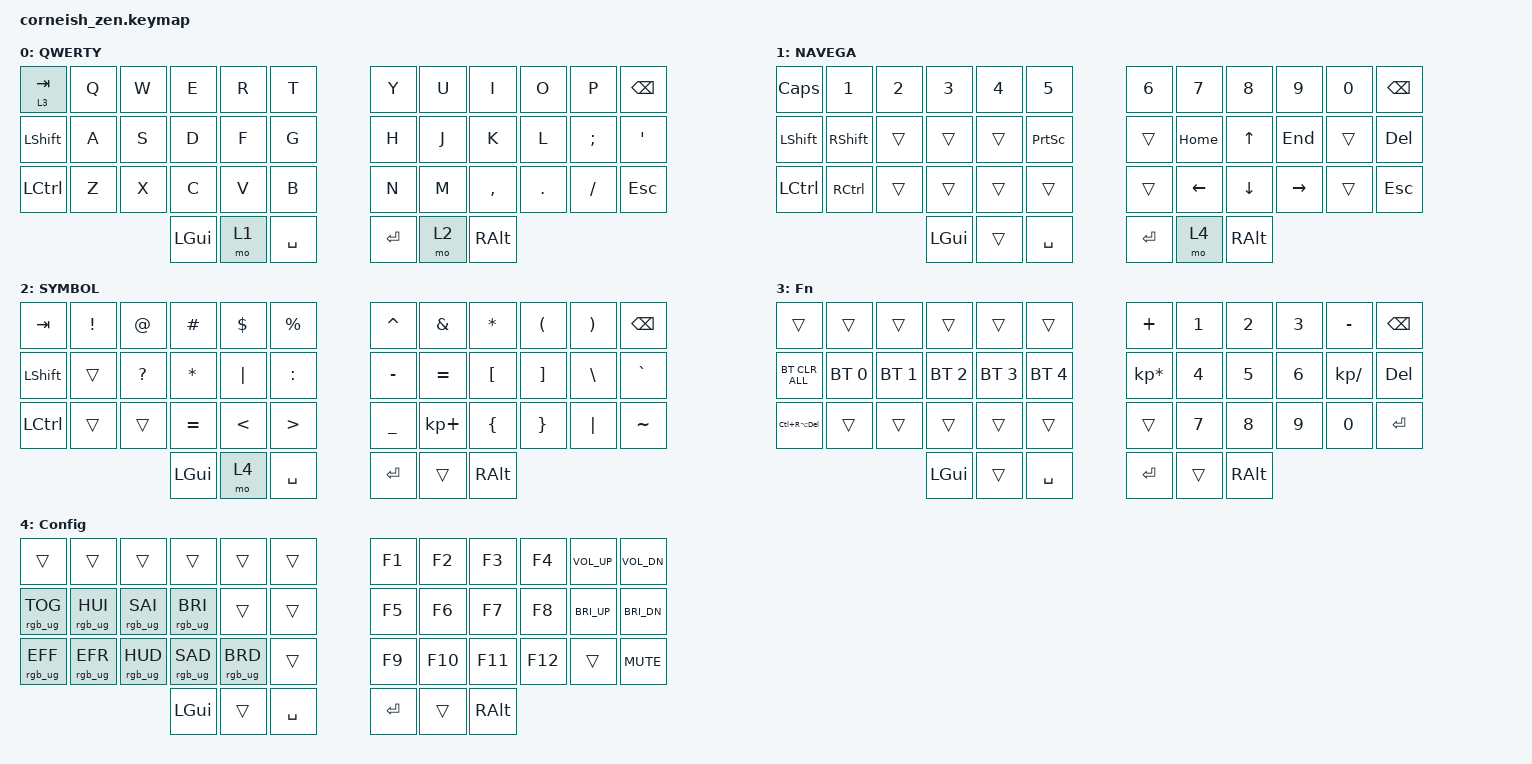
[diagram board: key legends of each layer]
/*
 * Copyright (c) 2020 The ZMK Contributors
 *
 * SPDX-License-Identifier: MIT
 */

#include <behaviors.dtsi>
#include <dt-bindings/zmk/bt.h>
#include <dt-bindings/zmk/ext_power.h>
#include <dt-bindings/zmk/keys.h>
#include <dt-bindings/zmk/outputs.h>
#include <dt-bindings/zmk/rgb.h>

#define QWERTY 0
#define NAVEGA 1
#define SYMBOL 2
#define NUMPAD 3
#define CONFIG 4

/ {
    chosen {
        zmk,matrix_transform = &default_transform;

        // zmk,matrix_transform = &five_column_transform;
    };
};

/ {
    behaviors {
        td0: td0 {
            compatible = "zmk,behavior-tap-dance";
            label = "TD0";
            #binding-cells = <0>;
            bindings = <&kp LEFT_SHIFT>, <&kp CAPS>;
        };
    };

    keymap {
        compatible = "zmk,keymap";

        default_layer {
            display-name = "QWERTY";

            // --------------------------------------------------------------------------------
            // |  TAB |  Q  |  W  |  E  |  R  |  T  |   |  Y  |  U   |  I  |  O  |  P  | BKSP |
            // | SHFT |  A  |  S  |  D  |  F  |  G  |   |  H  |  J   |  K  |  L  |  ;  |  '   | 
            // | CTRL |  Z  |  X  |  C  |  V  |  B  |   |  N  |  M   |  ,  |  .  |  /  | ESC  |
            //                    | GUI | LWR | SPC |   | ENT | RSE  | ALT |

            bindings = <
&lt 3 TAB  &kp Q  &kp W  &kp E     &kp R  &kp T          &kp Y        &kp U  &kp I      &kp O    &kp P     &kp BSPC
&kp LSHFT  &kp A  &kp S  &kp D     &kp F  &kp G          &kp H        &kp J  &kp K      &kp L    &kp SEMI  &kp SQT
&kp LCTRL  &kp Z  &kp X  &kp C     &kp V  &kp B          &kp N        &kp M  &kp COMMA  &kp DOT  &kp FSLH  &kp ESC
                         &kp LGUI  &mo 1  &kp SPACE      &kp ENTER    &mo 2  &kp RALT
            >;
        };

        lower_layer {
            display-name = "NAVEGA";

            // -----------------------------------------------------------------------------------------
            // | CAPS |  1    |  2  |  3  |  4  |  5    |   |  6  |  7     |  8   |  9    |  0  | BSPC |
            // | SHFT | RSHFT |     |     |     | PSCRN |   |     | HOME   | UP   | END   |     | DEL  |
            // | CTRL | RCTRL |     |     |     |       |   |     | LEFT   | DOWN | RIGHT |     | ESC  |
            //                      | GUI | ___ | SPC   |   | ENT | CONFIG | ALT  |
            
            bindings = <
&kp  CAPS &kp N1    &kp N2 &kp N3   &kp N4   &kp N5      &kp N6    &kp N7      &kp N8    &kp N9    &kp N0   &kp BSPC
&kp LSHFT &kp RSHFT &trans &trans   &trans   &kp PSCRN   &trans    &kp HOME    &kp UP    &kp END   &trans   &kp DEL
&kp LCTRL &kp RCTRL &trans &trans   &trans   &trans      &trans    &kp LEFT    &kp DOWN  &kp RIGHT &trans   &kp ESC
                           &kp LGUI &trans   &kp SPACE   &kp ENTER &mo 4  &kp RALT
            >;
        };

        raise_layer {
            display-name = "SYMBOL";

            // -----------------------------------------------------------------------------------------
            // |  TAB  |  !  |  @  |  #  |  $    |  %  |   |  ^  |  &  |  *  |  (  |  )  | BSPC |
            // | LSHFT |     |  ?  |  *  |  |    |  :  |   | - _ | = + | [ { | } ] | \ | | `  ~ |
            // | LCTRL |     |     | = + |  <    |  >  |   |  _  |  +  |  {  |  }  |  |  |  ~   |
            //                     | GUI |CONFIG | SPC |   | ENT | ___ | ALT |

            bindings = <
&kp TAB   &kp EXCL &kp AT    &kp HASH  &kp DLLR &kp PRCNT   &kp CARET &kp AMPS     &kp ASTRK &kp LPAR &kp RPAR &kp BSPC
&kp LSHFT &trans   &kp QMARK &kp STAR  &kp PIPE &kp COLON   &kp MINUS &kp EQUAL    &kp LBKT  &kp RBKT &kp BSLH &kp GRAVE
&kp LCTRL &trans   &trans    &kp EQUAL &kp LT   &kp GT      &kp UNDER &kp KP_PLUS  &kp LBRC  &kp RBRC &kp PIPE &kp TILDE
                        &kp LGUI  &mo 4   &kp SPACE   &kp ENTER &trans &kp RALT
            >;
        };

        layer_3 {
            display-name = "Fn";

            // -----------------------------------------------------------------------------------------
            // |              |     |     |     |     |     |   |  +  | 1  |  2  |  3  |  - | BSPC  |
            // | BTCLR        | BT1 | BT2 | BT3 | BT4 | BT5 |   |  *  | 4  |  5  |  6  |  / | DEL   |
            // | CTRL+ALT+SUP |     |     |     |     |     |   |     | 7  |  8  |  9  |  0 | ENTER |
            //                            | GUI | ___ | SPC |   | ENT | ___| ALT |

            bindings = <
&trans          &trans       &trans       &trans       &trans       &trans         &kp PLUS         &kp N1 &kp N2 &kp N3 &kp MINUS     &kp BSPC
&bt BT_CLR_ALL  &bt BT_SEL 0 &bt BT_SEL 1 &bt BT_SEL 2 &bt BT_SEL 3 &bt BT_SEL 4   &kp KP_MULTIPLY  &kp N4 &kp N5 &kp N6 &kp KP_DIVIDE &kp DEL
&kp LC(RA(DEL)) &trans       &trans       &trans       &trans       &trans         &trans           &kp N7 &kp N8 &kp N9 &kp N0        &kp ENTER
                           &kp LGUI &trans   &kp SPACE                             &kp ENTER &trans &kp RALT
            >;
        };

        layer_4 {
            display-name = "Config";

            // -----------------------------------------------------------------------------------------
            // |      |     |     |     |     |     |   | F1  | F2  | F3  |  F4  | Subir Volumen | Bajar Volumen |
            // |      |     |     |     |     |     |   | F5  | F6  | F7  |  F7  | Subir brillo  | Bajar Brillo  |
            // |      |     |     |     |     |     |   | F9  | F10 | F11 |  F12 |     |      |
            //                    | GUI |     | SPC |   | ENT | F1 | ALT |

            bindings = <
&trans           &trans          &trans          &trans           &trans           &trans     &kp F1  &kp F2  &kp F3  &kp F4  &kp C_VOL_UP &kp C_VOL_DN
&rgb_ug RGB_TOG  &rgb_ug RGB_HUI &rgb_ug RGB_SAI &rgb_ug RGB_BRI  &trans           &trans     &kp F5  &kp F6  &kp F7  &kp F8  &kp C_BRI_UP &kp C_BRI_DN
&rgb_ug RGB_EFF  &rgb_ug RGB_EFR &rgb_ug RGB_HUD &rgb_ug RGB_SAD  &rgb_ug RGB_BRD  &trans     &kp F9  &kp F10 &kp F11 &kp F12 &trans       &kp C_MUTE
                  &kp LGUI  &trans &kp SPACE                                                  &kp ENTER  &trans  &kp RALT
            >;
        };

    };
};
